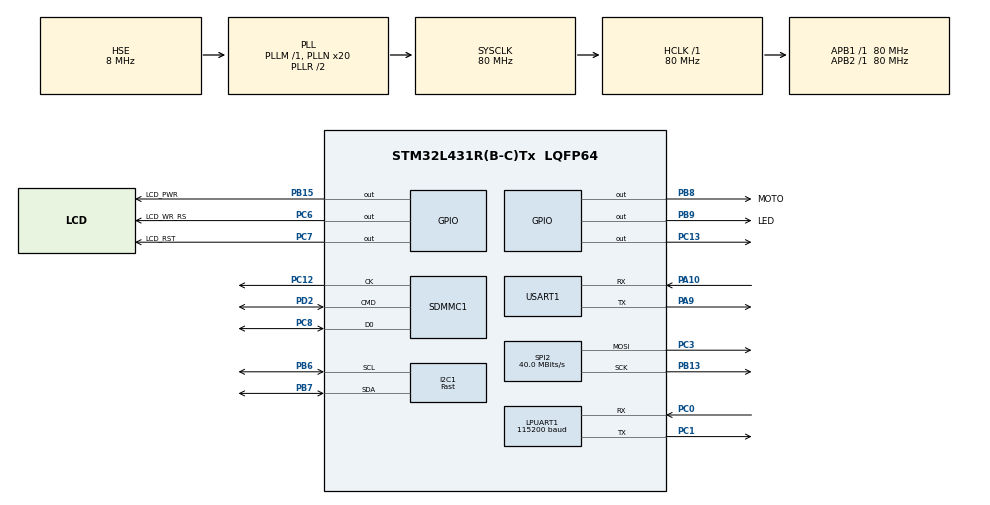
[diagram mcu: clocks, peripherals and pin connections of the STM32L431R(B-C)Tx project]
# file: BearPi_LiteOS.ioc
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Dma.LPUART_RX.3.Direction=DMA_PERIPH_TO_MEMORY
Dma.LPUART_RX.3.Instance=DMA2_Channel7
Dma.LPUART_RX.3.MemDataAlignment=DMA_MDATAALIGN_BYTE
Dma.LPUART_RX.3.MemInc=DMA_MINC_ENABLE
Dma.LPUART_RX.3.Mode=DMA_NORMAL
Dma.LPUART_RX.3.PeriphDataAlignment=DMA_PDATAALIGN_BYTE
Dma.LPUART_RX.3.PeriphInc=DMA_PINC_DISABLE
Dma.LPUART_RX.3.Priority=DMA_PRIORITY_LOW
Dma.LPUART_TX.2.Direction=DMA_MEMORY_TO_PERIPH
Dma.LPUART_TX.2.Instance=DMA2_Channel6
Dma.LPUART_TX.2.MemDataAlignment=DMA_MDATAALIGN_BYTE
Dma.LPUART_TX.2.MemInc=DMA_MINC_ENABLE
Dma.LPUART_TX.2.Mode=DMA_NORMAL
Dma.LPUART_TX.2.PeriphDataAlignment=DMA_PDATAALIGN_BYTE
Dma.LPUART_TX.2.PeriphInc=DMA_PINC_DISABLE
Dma.LPUART_TX.2.Priority=DMA_PRIORITY_LOW
Dma.Request0=SPI2_TX
Dma.Request1=USART1_TX
Dma.Request2=LPUART_TX
Dma.Request3=LPUART_RX
Dma.SPI2_TX.0.Direction=DMA_MEMORY_TO_PERIPH
Dma.SPI2_TX.0.Instance=DMA1_Channel5
Dma.SPI2_TX.0.MemDataAlignment=DMA_MDATAALIGN_BYTE
Dma.SPI2_TX.0.MemInc=DMA_MINC_ENABLE
Dma.SPI2_TX.0.Mode=DMA_NORMAL
Dma.SPI2_TX.0.PeriphDataAlignment=DMA_PDATAALIGN_BYTE
Dma.SPI2_TX.0.PeriphInc=DMA_PINC_DISABLE
Dma.SPI2_TX.0.Priority=DMA_PRIORITY_LOW
Dma.USART1_TX.1.Direction=DMA_MEMORY_TO_PERIPH
Dma.USART1_TX.1.Instance=DMA1_Channel4
Dma.USART1_TX.1.MemDataAlignment=DMA_MDATAALIGN_BYTE
Dma.USART1_TX.1.MemInc=DMA_MINC_ENABLE
Dma.USART1_TX.1.Mode=DMA_NORMAL
Dma.USART1_TX.1.PeriphDataAlignment=DMA_PDATAALIGN_BYTE
Dma.USART1_TX.1.PeriphInc=DMA_PINC_DISABLE
Dma.USART1_TX.1.Priority=DMA_PRIORITY_LOW
I2C1.I2C_Speed_Mode=I2C_Fast
I2C1.Timing=0x00702991
LPUART1.BaudRate=115200
LPUART1.WordLength=UART_WORDLENGTH_8B
Mcu.Family=STM32L4
Mcu.Name=STM32L431R(B-C)Tx
Mcu.Package=LQFP64
NVIC.DMA1_Channel4_IRQn=true\:0\:0\:false\:false\:true\:false\:true
NVIC.DMA1_Channel5_IRQn=true\:0\:0\:false\:false\:true\:false\:true
NVIC.DMA2_Channel6_IRQn=true\:0\:0\:false\:false\:true\:false\:true
NVIC.DMA2_Channel7_IRQn=true\:0\:0\:false\:false\:true\:false\:true
NVIC.I2C1_ER_IRQn=true\:0\:0\:false\:false\:true\:true\:true
NVIC.I2C1_EV_IRQn=true\:0\:0\:false\:false\:true\:true\:true
NVIC.LPUART1_IRQn=true\:0\:0\:false\:false\:true\:true\:true
NVIC.PriorityGroup=NVIC_PRIORITYGROUP_4
NVIC.SDMMC1_IRQn=true\:0\:0\:false\:false\:true\:true\:true
NVIC.SPI2_IRQn=true\:0\:0\:false\:false\:true\:true\:true
NVIC.TIM1_UP_TIM16_IRQn=true\:0\:0\:false\:false\:true\:false\:true
NVIC.TimeBase=TIM1_UP_TIM16_IRQn
NVIC.TimeBaseIP=TIM1
NVIC.USART1_IRQn=true\:0\:0\:false\:false\:true\:true\:true
PA10.Mode=Asynchronous
PA10.Signal=USART1_RX
PA13\ (JTMS-SWDIO).Mode=Serial_Wire
PA13\ (JTMS-SWDIO).Signal=SYS_JTMS-SWDIO
PA14\ (JTCK-SWCLK).Mode=Serial_Wire
PA14\ (JTCK-SWCLK).Signal=SYS_JTCK-SWCLK
PA9.Mode=Asynchronous
PA9.Signal=USART1_TX
PB13.Mode=TX_Only_Simplex_Unidirect_Master
PB13.Signal=SPI2_SCK
PB15.GPIO_Label=LCD_PWR
PB15.GPIO_Speed=GPIO_SPEED_FREQ_VERY_HIGH
PB15.Signal=GPIO_Output
PB6.Mode=I2C
PB6.Signal=I2C1_SCL
PB7.Mode=I2C
PB7.Signal=I2C1_SDA
PB8.GPIO_Label=MOTO
PB8.GPIO_PuPd=GPIO_PULLDOWN
PB8.Signal=GPIO_Output
PB9.GPIO_Label=LED
PB9.Signal=GPIO_Output
PC0.Mode=Asynchronous
PC0.Signal=LPUART1_RX
PC1.Mode=Asynchronous
PC1.Signal=LPUART1_TX
PC12.Mode=SD_1_bit
PC12.Signal=SDMMC1_CK
PC13.PinState=GPIO_PIN_SET
PC13.Signal=GPIO_Output
PC3.Mode=TX_Only_Simplex_Unidirect_Master
PC3.Signal=SPI2_MOSI
PC6.GPIO_Label=LCD_WR_RS
PC6.GPIO_Speed=GPIO_SPEED_FREQ_VERY_HIGH
PC6.Signal=GPIO_Output
PC7.GPIO_Label=LCD_RST
PC7.GPIO_Speed=GPIO_SPEED_FREQ_VERY_HIGH
PC7.Signal=GPIO_Output
PC8.Mode=SD_1_bit
PC8.Signal=SDMMC1_D0
PD2.Mode=SD_1_bit
PD2.Signal=SDMMC1_CMD
PH0-OSC_IN\ (PH0).Mode=HSE-External-Oscillator
PH0-OSC_IN\ (PH0).Signal=RCC_OSC_IN
PH1-OSC_OUT\ (PH1).Mode=HSE-External-Oscillator
PH1-OSC_OUT\ (PH1).Signal=RCC_OSC_OUT
ProjectManager.HeapSize=0x400
ProjectManager.StackSize=0x1000
ProjectManager.TargetToolchain=MDK-ARM V5.27
RCC.ADCFreq_Value=32000000
RCC.AHBFreq_Value=80000000
RCC.APB1Freq_Value=80000000
RCC.APB1TimFreq_Value=80000000
RCC.APB2Freq_Value=80000000
RCC.APB2TimFreq_Value=80000000
RCC.CortexFreq_Value=80000000
RCC.HCLKFreq_Value=80000000
RCC.HSE_VALUE=8000000
RCC.HSI48_VALUE=48000000
RCC.HSI_VALUE=16000000
RCC.LSE_VALUE=32768
RCC.MSI_VALUE=4000000
RCC.PLLN=20
RCC.PLLSourceVirtual=RCC_PLLSOURCE_HSE
RCC.SYSCLKFreq_VALUE=80000000
RCC.SYSCLKSource=RCC_SYSCLKSOURCE_PLLCLK
RCC.VCOOutputFreq_Value=160000000
SPI2.CLKPhase=SPI_PHASE_2EDGE
SPI2.CLKPolarity=SPI_POLARITY_HIGH
SPI2.CalculateBaudRate=40.0 MBits/s
SPI2.DataSize=SPI_DATASIZE_8BIT
SPI2.Direction=SPI_DIRECTION_2LINES
SPI2.Mode=SPI_MODE_MASTER
SPI2.VirtualType=VM_MASTER
USART1.VirtualMode-Asynchronous=VM_ASYNC
VP_FATFS_VS_SDIO.Mode=SDIO
VP_SYS_VS_tim1.Mode=TIM1
board=custom

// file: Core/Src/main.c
/* USER CODE BEGIN Header */
/**
  ******************************************************************************
  * @file           : main.c
  * @brief          : Main program body
  ******************************************************************************
  * @attention
  *
  * <h2><center>&copy; Copyright (c) 2022 STMicroelectronics.
  * All rights reserved.</center></h2>
  *
  * This software component is licensed by ST under BSD 3-Clause license,
  * the "License"; You may not use this file except in compliance with the
  * License. You may obtain a copy of the License at:
  *                        opensource.org/licenses/BSD-3-Clause
  *
  ******************************************************************************
  */
/* USER CODE END Header */
#include "main.h"
#include "dma.h"
#include "fatfs.h"
#include "i2c.h"
#include "usart.h"
#include "sdmmc.h"
#include "spi.h"
#include "gpio.h"

/* USER CODE BEGIN Includes */
#include "cmsis_os.h"
#include "lcd.h"
#include "lv_port_disp.h"
#include "lv_port_fs.h"
#include "transport.h"
#include "esp8266.h"
#include "huawei.h"
#include "sht30.h"
/* USER CODE END Includes */

/* USER CODE BEGIN PTD */
/* Private variables ---------------------------------------------------------*/

/* USER CODE END PTD */

/* USER CODE BEGIN PV */
FATFS   fs;			/* FATFS 文件系统对象 */
FRESULT fr; 		/* FATFS API 返回值 */

/* USER CODE END PV */

void SystemClock_Config(void);

/* USER CODE BEGIN 0 */
osSemaphoreId_t DMA_SemaphoreHandle;
const osSemaphoreAttr_t DMA_Semaphore_attributes = {
  .name = "SPI_DMA_Semaphore"
};

osSemaphoreId_t TX_DMA_SemaphoreHandle;
const osSemaphoreAttr_t TX_DMA_Semaphore_attributes = {
  .name = "TX_DMA_Semaphore"
};

osSemaphoreId_t RX_DMA_SemaphoreHandle;
const osSemaphoreAttr_t RX_DMA_Semaphore_attributes = {
  .name = "RX_DMA_Semaphore"
};

osThreadId_t led_taskHandle;
const osThreadAttr_t led_task_attributes = {
  .name = "led_task",
  .stack_size = 512 * 1,
  .priority = (osPriority_t) osPriorityNormal,
};

osThreadId_t lcd_taskHandle;
const osThreadAttr_t lcd_task_attributes = {
  .name = "lcd_task",
  .stack_size = 512 * 2,
  .priority = (osPriority_t) osPriorityNormal4,
};

osThreadId_t huawei_taskHandle;
const osThreadAttr_t huawei_task_attributes = {
  .name = "huawei_task",
  .stack_size = 512 * 4,
  .priority = (osPriority_t) osPriorityNormal3,
};

void Led_Task(void *argument);
void Lcd_Task(void *argument);
void Huawei_Task(void *argument);

void Led_Task(void *argument)
{
	while(1)
	{

		HAL_GPIO_TogglePin(GPIOC,GPIO_PIN_13);
		osDelay(1000);
	}
}

lv_img_dsc_t testimg1 = {
	.header.always_zero = 0,
	.header.w = 150,
	.header.h = 60,
	.data_size = 150 * 60 * 2,
	.header.cf = LV_IMG_CF_TRUE_COLOR,
};

lv_img_dsc_t bkg_bearpi = {
	.header.always_zero = 0,
	.header.w = 240,
	.header.h = 20,
	.data_size = 240 * 20 * 2,
	.header.cf = LV_IMG_CF_TRUE_COLOR,
};
//声明字体
LV_FONT_DECLARE(my_font);

void Lcd_Task(void *argument)
{
	lv_fs_res_t fs_res=LV_FS_RES_NOT_IMP;
	int offset;
	LCD_Init();
	lv_init();
	lv_port_disp_init();//lvgl 显示接口初始化,放在 lv_init()的后面
	lv_port_fs_init();

	//内存申请
	lv_fs_file_t *lv_file = (lv_fs_file_t *)lv_mem_alloc(sizeof(lv_fs_file_t *));
	lv_obj_t *bkg = (lv_obj_t *)lv_mem_alloc(sizeof(lv_obj_t *));
	lv_obj_t *homonoryimg = (lv_obj_t *)lv_mem_alloc(sizeof(lv_obj_t *));
	lv_style_t *style1 = (lv_style_t *)lv_mem_alloc(sizeof(lv_style_t *));
	uint8_t* framebuffer1 = (uint8_t*)lv_mem_alloc(sizeof(uint8_t)*18000);

	//对象操作

	lv_style_init(style1);
	lv_style_set_bg_color(style1, LV_STATE_DEFAULT,LV_COLOR_BLACK);
	lv_style_set_border_width(style1,LV_STATE_DEFAULT, 0);
	lv_style_set_radius(style1,LV_STATE_DEFAULT,0);

	bkg = lv_obj_create(lv_scr_act(),NULL);
	lv_obj_set_pos(bkg,0,0);
	lv_obj_set_size(bkg,240,240);
	lv_obj_add_style(bkg,LV_OBJ_PART_MAIN,style1);

	//鸿蒙启动界面
	homonoryimg = lv_img_create(lv_scr_act(), NULL);
	//文件打开
	fs_res = lv_fs_open(lv_file, "S:/os.bin", LV_FS_MODE_RD| LV_FS_MODE_WR);
	if ( fs_res != LV_FS_RES_OK )
		printf( "LVGL FS open error. (%d)\r\n", fs_res );
	offset = 0;
	offset += 4; //从offset=4
	lv_fs_seek(lv_file, offset);

	//计算bin文件里一共包含多少张图片，然后不断的给tft进行显示
//	for(int i = 0 ; i < 401 ; i++)
//	{
//		fs_res = lv_fs_read(lv_file, (uint8_t *)framebuffer1, 18000,NULL);
//		testimg1.data = (const uint8_t *)framebuffer1;
//		lv_img_set_src(homonoryimg, &testimg1);
//		lv_obj_align(homonoryimg, NULL, LV_ALIGN_CENTER, 0, 0);
//		lv_task_handler();
//		offset += 18004;
//		fs_res = lv_fs_seek(lv_file, offset);
//		osDelay(20);
//	}
	//资源回收
	lv_fs_close(lv_file);
	lv_obj_del(homonoryimg);

	//内存回收
	lv_mem_free(framebuffer1);
	framebuffer1 = NULL;
	lv_mem_free(homonoryimg);
	homonoryimg = NULL;

	//开机后背景
	lv_style_set_bg_color(style1, LV_STATE_DEFAULT,LV_COLOR_MAKE(0x1C,0x8A,0xDB));
	lv_obj_add_style(bkg,LV_OBJ_PART_MAIN,style1);

	//内存申请
	lv_obj_t *bkg_img_bearpi0 = (lv_obj_t *)lv_mem_alloc(sizeof(lv_obj_t *));
	lv_obj_t *bkg_img_bearpi1 = (lv_obj_t *)lv_mem_alloc(sizeof(lv_obj_t *));
	lv_obj_t *bkg_img_bearpi2 = (lv_obj_t *)lv_mem_alloc(sizeof(lv_obj_t *));
	lv_obj_t *bkg_img_bearpi3 = (lv_obj_t *)lv_mem_alloc(sizeof(lv_obj_t *));
	lv_obj_t *bkg_img_bearpi4 = (lv_obj_t *)lv_mem_alloc(sizeof(lv_obj_t *));
	lv_obj_t *bkg_img_bearpi5 = (lv_obj_t *)lv_mem_alloc(sizeof(lv_obj_t *));
	lv_obj_t *bkg_img_bearpi6 = (lv_obj_t *)lv_mem_alloc(sizeof(lv_obj_t *));

	uint8_t* framebuffer2 = (uint8_t*)lv_mem_alloc(sizeof(uint8_t)*9600);
	//图片界面

	bkg_img_bearpi0 = lv_img_create(lv_scr_act(), NULL);
	bkg_img_bearpi1 = lv_img_create(lv_scr_act(), NULL);
	bkg_img_bearpi2 = lv_img_create(lv_scr_act(), NULL);
	bkg_img_bearpi3 = lv_img_create(lv_scr_act(), NULL);
	bkg_img_bearpi4 = lv_img_create(lv_scr_act(), NULL);
	bkg_img_bearpi5 = lv_img_create(lv_scr_act(), NULL);
	bkg_img_bearpi6 = lv_img_create(lv_scr_act(), NULL);

	//文件打开
	fs_res = lv_fs_open(lv_file, "S:/bear.bin", LV_FS_MODE_RD| LV_FS_MODE_WR);
	if ( fs_res != LV_FS_RES_OK )
		printf( "LVGL FS open error. (%d)\r\n", fs_res );
	offset = 0;
	offset += 4; //从offset=4
	lv_fs_seek(lv_file, offset);

	//分开显示图片 6
	fs_res = lv_fs_read(lv_file, (uint8_t *)framebuffer2, 9600,NULL);
	bkg_bearpi.data = (const uint8_t *)framebuffer2;
	lv_img_set_src(bkg_img_bearpi0, &bkg_bearpi);
	lv_obj_align(bkg_img_bearpi0, NULL, LV_ALIGN_CENTER, 0, -60);
	lv_task_handler();
	offset += 9600;
	fs_res = lv_fs_seek(lv_file, offset);
	osDelay(20);

	fs_res = lv_fs_read(lv_file, (uint8_t *)framebuffer2, 9600,NULL);
	bkg_bearpi.data = (const uint8_t *)framebuffer2;
	lv_img_set_src(bkg_img_bearpi1, &bkg_bearpi);
	lv_obj_align(bkg_img_bearpi1, NULL, LV_ALIGN_CENTER, 0, -40);
	lv_task_handler();
	offset += 9600;
	fs_res = lv_fs_seek(lv_file, offset);
	osDelay(20);

		fs_res = lv_fs_read(lv_file, (uint8_t *)framebuffer2, 9600,NULL);
	bkg_bearpi.data = (const uint8_t *)framebuffer2;
	lv_img_set_src(bkg_img_bearpi2, &bkg_bearpi);
	lv_obj_align(bkg_img_bearpi2, NULL, LV_ALIGN_CENTER, 0, -20);
	lv_task_handler();
	offset += 9600;
	fs_res = lv_fs_seek(lv_file, offset);
	osDelay(20);

		fs_res = lv_fs_read(lv_file, (uint8_t *)framebuffer2, 9600,NULL);
	bkg_bearpi.data = (const uint8_t *)framebuffer2;
	lv_img_set_src(bkg_img_bearpi3, &bkg_bearpi);
	lv_obj_align(bkg_img_bearpi3, NULL, LV_ALIGN_CENTER, 0, 0);
	lv_task_handler();
	offset += 9600;
	fs_res = lv_fs_seek(lv_file, offset);
	osDelay(20);

	fs_res = lv_fs_read(lv_file, (uint8_t *)framebuffer2, 9600,NULL);
	bkg_bearpi.data = (const uint8_t *)framebuffer2;
	lv_img_set_src(bkg_img_bearpi4, &bkg_bearpi);
	lv_obj_align(bkg_img_bearpi4, NULL, LV_ALIGN_CENTER, 0, 20);
	lv_task_handler();
	offset += 9600;
	fs_res = lv_fs_seek(lv_file, offset);
	osDelay(20);

	fs_res = lv_fs_read(lv_file, (uint8_t *)framebuffer2, 9600,NULL);
	bkg_bearpi.data = (const uint8_t *)framebuffer2;
	lv_img_set_src(bkg_img_bearpi5, &bkg_bearpi);
	lv_obj_align(bkg_img_bearpi5, NULL, LV_ALIGN_CENTER, 0, 40);
	lv_task_handler();
	offset += 9600;
	fs_res = lv_fs_seek(lv_file, offset);
	osDelay(20);

	fs_res = lv_fs_read(lv_file, (uint8_t *)framebuffer2, 9600,NULL);
	bkg_bearpi.data = (const uint8_t *)framebuffer2;
	lv_img_set_src(bkg_img_bearpi6, &bkg_bearpi);
	lv_obj_align(bkg_img_bearpi6, NULL, LV_ALIGN_CENTER, 0, 60);
	lv_task_handler();
	offset += 9600;
	fs_res = lv_fs_seek(lv_file, offset);
	osDelay(20);

	//资源再回收
	lv_fs_close(lv_file);
	lv_mem_free(framebuffer2);
	framebuffer2 = NULL;

	//顶部图标
	lv_style_t *style2 = (lv_style_t *)lv_mem_alloc(sizeof(lv_style_t *));
	lv_obj_t *top = (lv_obj_t *)lv_mem_alloc(sizeof(lv_obj_t *));
	top = lv_label_create(lv_scr_act(), NULL);
	lv_style_init(style2);
	lv_style_set_text_font(style2, LV_STATE_DEFAULT, &lv_font_montserrat_40);
	lv_style_set_text_color(style2, LV_STATE_DEFAULT,LV_COLOR_MAKE(0xFA,0xFA,0xFA));
	lv_obj_add_style(top,LV_OBJ_PART_MAIN,style2);
	lv_label_set_text(top, LV_SYMBOL_WIFI);
	lv_obj_set_pos(top,5,5);

	//----------底部图标--------------
	lv_style_t *style3 = (lv_style_t *)lv_mem_alloc(sizeof(lv_style_t *));
	lv_style_init(style3);
	lv_style_set_text_font(style3, LV_STATE_DEFAULT, &my_font);
	lv_style_set_text_color(style3, LV_STATE_DEFAULT,LV_COLOR_MAKE(0xFA,0xFA,0xFA));

	lv_obj_t *bottom1 = (lv_obj_t *)lv_mem_alloc(sizeof(lv_obj_t *));
	bottom1 = lv_label_create(lv_scr_act(), NULL);
	lv_label_set_text(bottom1, LV_SYMBOL_TEMP);
	lv_obj_set_pos(bottom1,15,195);

	lv_obj_add_style(bottom1,LV_OBJ_PART_MAIN,style3);

	lv_obj_t *bottom2 = (lv_obj_t *)lv_mem_alloc(sizeof(lv_obj_t *));
	bottom2 = lv_label_create(lv_scr_act(), NULL);
	lv_label_set_text(bottom2,LV_SYMBOL_LIGHT);
	lv_obj_set_pos(bottom2,110,195);
	lv_obj_add_style(bottom2,LV_OBJ_PART_MAIN,style3);

	while(1)
	{
		lv_task_handler();
		osDelay(20);
	}

}
void Huawei_Task(void *argument)
{
	int len = 0;
	int rc = 0;
	unsigned char topic[]= POST_TOPIC;
	unsigned char payload[100]={0};

	uint8_t recv_dat[6] = {0};
	float temperature = 0.0;
	float humidity = 0.0;

	printf("ESP8266 Ready: 2S!\r\n");
	osDelay(1000);
	printf("ESP8266 Ready: 1S!\r\n");
	osDelay(1000);
	printf("ESP8266 Init!\r\n");
	esp8266_Connect_IOTServer();
	huawei_connect();
	osDelay(100);

	while(1)
	{

		if(SHT30_Read_Dat(recv_dat) == HAL_OK)
		{
			if(SHT30_Dat_To_Float(recv_dat, &temperature, &humidity)==0)
			{
				printf("temperature = %f, humidity = %f\r\n", temperature, humidity);
			}
			else
			{
				printf("crc check fail\r\n");
			}
		}
		else
		{
			printf("read data from sht30 fail\r\n");
		}

		sprintf((char*)payload,PAY_LOAD,(uint32_t)temperature,(uint32_t)humidity);

		memset(buf,0,buflen);
		MQTTString topicString = MQTTString_initializer;
		topicString.cstring = (char *)topic;

		len=MQTTSerialize_publish(buf,buflen,0,0,0,0,topicString,payload,strlen((char *)payload));

		rc = transport_sendPacketBuffer(3, buf, len);
		if(!rc)
			printf("Send OK!\r\n");
		else
			printf("Send WRONG!\r\n");
		osDelay(5000);
	}
}

/* USER CODE END 0 */

int main(void)
{

  /* MCU Configuration--------------------------------------------------------*/

  /* Reset of all peripherals, Initializes the Flash interface and the Systick. */
  HAL_Init();

  /* Configure the system clock */
  SystemClock_Config();

  /* Initialize all configured peripherals */
  MX_GPIO_Init();
  MX_DMA_Init();
  MX_SPI2_Init();
  MX_USART1_UART_Init();
  MX_SDMMC1_SD_Init();
  MX_FATFS_Init();
  MX_LPUART1_UART_Init();
  MX_I2C1_Init();
  /* USER CODE BEGIN 2 */

	SHT30_reset();
	if(SHT30_Init() == HAL_OK)
			printf("sht30 init ok.\r\n");
	else
			printf("sht30 init fail\r\n");

	osKernelInitialize();
  /* creation of uart_task */
	HAL_GPIO_WritePin(MOTO_GPIO_Port,MOTO_Pin,GPIO_PIN_RESET);
	HAL_GPIO_WritePin(LED_GPIO_Port,LED_Pin,GPIO_PIN_SET);

	DMA_SemaphoreHandle = osSemaphoreNew(1, 1, &DMA_Semaphore_attributes);
	TX_DMA_SemaphoreHandle = osSemaphoreNew(1, 1, &TX_DMA_Semaphore_attributes);
	RX_DMA_SemaphoreHandle = osSemaphoreNew(1, 1, &RX_DMA_Semaphore_attributes);

  led_taskHandle = osThreadNew(Led_Task, NULL, &led_task_attributes);
	lcd_taskHandle = osThreadNew(Lcd_Task, NULL, &lcd_task_attributes);
	huawei_taskHandle = osThreadNew(Huawei_Task, NULL, &huawei_task_attributes);

	osKernelStart();
  /* USER CODE END 2 */

  /* Infinite loop */
  while (1)
  {

  }
}

void SystemClock_Config(void)
{
  RCC_OscInitTypeDef RCC_OscInitStruct = {0};
  RCC_ClkInitTypeDef RCC_ClkInitStruct = {0};
  RCC_PeriphCLKInitTypeDef PeriphClkInit = {0};

  /** Initializes the RCC Oscillators according to the specified parameters
  * in the RCC_OscInitTypeDef structure.
  */
  RCC_OscInitStruct.OscillatorType = RCC_OSCILLATORTYPE_HSE;
  RCC_OscInitStruct.HSEState = RCC_HSE_ON;
  RCC_OscInitStruct.PLL.PLLState = RCC_PLL_ON;
  RCC_OscInitStruct.PLL.PLLSource = RCC_PLLSOURCE_HSE;
  RCC_OscInitStruct.PLL.PLLM = 1;
  RCC_OscInitStruct.PLL.PLLN = 20;
  RCC_OscInitStruct.PLL.PLLP = RCC_PLLP_DIV7;
  RCC_OscInitStruct.PLL.PLLQ = RCC_PLLQ_DIV2;
  RCC_OscInitStruct.PLL.PLLR = RCC_PLLR_DIV2;
  if (HAL_RCC_OscConfig(&RCC_OscInitStruct) != HAL_OK)
  {
    Error_Handler();
  }
  /** Initializes the CPU, AHB and APB buses clocks
  */
  RCC_ClkInitStruct.ClockType = RCC_CLOCKTYPE_HCLK|RCC_CLOCKTYPE_SYSCLK
                              |RCC_CLOCKTYPE_PCLK1|RCC_CLOCKTYPE_PCLK2;
  RCC_ClkInitStruct.SYSCLKSource = RCC_SYSCLKSOURCE_PLLCLK;
  RCC_ClkInitStruct.AHBCLKDivider = RCC_SYSCLK_DIV1;
  RCC_ClkInitStruct.APB1CLKDivider = RCC_HCLK_DIV1;
  RCC_ClkInitStruct.APB2CLKDivider = RCC_HCLK_DIV1;

  if (HAL_RCC_ClockConfig(&RCC_ClkInitStruct, FLASH_LATENCY_4) != HAL_OK)
  {
    Error_Handler();
  }
  PeriphClkInit.PeriphClockSelection = RCC_PERIPHCLK_USART1|RCC_PERIPHCLK_LPUART1
                              |RCC_PERIPHCLK_I2C1|RCC_PERIPHCLK_SDMMC1;
  PeriphClkInit.Usart1ClockSelection = RCC_USART1CLKSOURCE_PCLK2;
  PeriphClkInit.Lpuart1ClockSelection = RCC_LPUART1CLKSOURCE_PCLK1;
  PeriphClkInit.I2c1ClockSelection = RCC_I2C1CLKSOURCE_PCLK1;
  PeriphClkInit.Sdmmc1ClockSelection = RCC_SDMMC1CLKSOURCE_PLLSAI1;
  PeriphClkInit.PLLSAI1.PLLSAI1Source = RCC_PLLSOURCE_HSE;
  PeriphClkInit.PLLSAI1.PLLSAI1M = 1;
  PeriphClkInit.PLLSAI1.PLLSAI1N = 8;
  PeriphClkInit.PLLSAI1.PLLSAI1P = RCC_PLLP_DIV7;
  PeriphClkInit.PLLSAI1.PLLSAI1Q = RCC_PLLQ_DIV2;
  PeriphClkInit.PLLSAI1.PLLSAI1R = RCC_PLLR_DIV2;
  PeriphClkInit.PLLSAI1.PLLSAI1ClockOut = RCC_PLLSAI1_48M2CLK;
  if (HAL_RCCEx_PeriphCLKConfig(&PeriphClkInit) != HAL_OK)
  {
    Error_Handler();
  }
  /** Configure the main internal regulator output voltage
  */
  if (HAL_PWREx_ControlVoltageScaling(PWR_REGULATOR_VOLTAGE_SCALE1) != HAL_OK)
  {
    Error_Handler();
  }
}

 /**
  * @brief  Period elapsed callback in non blocking mode
  * @note   This function is called  when TIM1 interrupt took place, inside
  * HAL_TIM_IRQHandler(). It makes a direct call to HAL_IncTick() to increment
  * a global variable "uwTick" used as application time base.
  * @param  htim : TIM handle
  * @retval None
  */
void HAL_TIM_PeriodElapsedCallback(TIM_HandleTypeDef *htim)
{
  if (htim->Instance == TIM1) {
    HAL_IncTick();
  }
}

void Error_Handler(void)
{
  __disable_irq();
  while (1)
  {
  }
}

/************************ (C) COPYRIGHT STMicroelectronics *****END OF FILE****/
